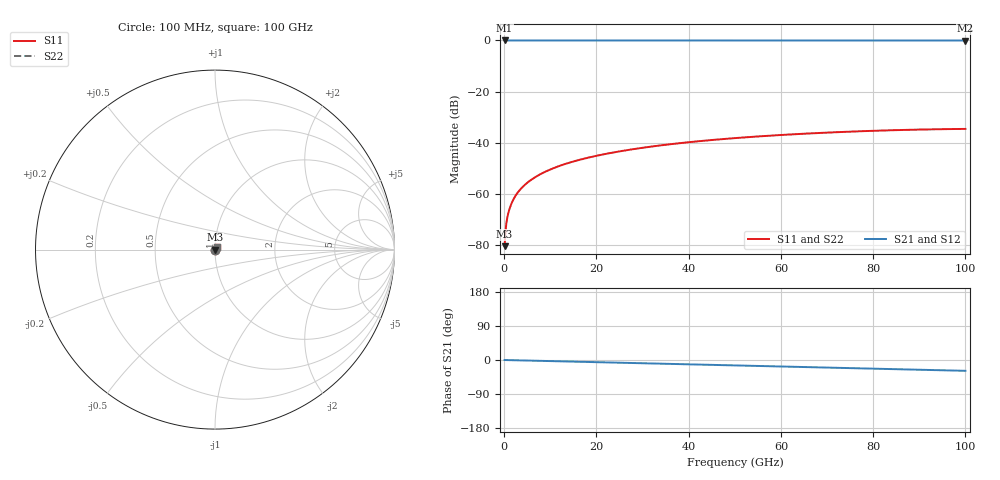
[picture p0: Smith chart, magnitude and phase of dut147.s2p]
! Touchstone file exported from HFSS 2026.1.0
!  File:  C:/ffzhzh/LocalFiles/Ansys_Project_Files/temp_train_TSV_147_1783506563_55944.aedt
!  Generated:  06:30:38 PM Jul  8, 2026
!  Design:  TSV
!  Project:  temp_train_TSV_147_1783506563_55944
! Variables:
!  h_bsmrdl = 2um
!  h_ox = 20um
!  h_rdl = 5um
!  h_sub = 52.38um
!  h_tmrdl = 5um
!  h_tsv = 52.38um
!  h_via = 3um
!  l_bsmrdl = 300um
!  l_sub = 423.08um
!  l_tmrdl = 200um
!  m_sub = 200um
!  pitch = 48.44um
!  r_tsv = 11.54um
!  s_tmrdl = 10um
!  w_bsmrdl = 18um
!  w_sub = 500um
!  w_tmrdl = 12um
!  x_tsv_center1 = 206um
!  x_tsv_center2 = 524um
!  x_tsv_center3 = 736um
!  x_tsv_center4 = 1054um
!  x_tsv_center5 = 1266um
!  x_tsv_center6 = 1584um
# GHz S MA R 50.000000
! Terminal data exported
! Port[1] = TSV1_1_T1
! Port[2] = TSV1_1_T2
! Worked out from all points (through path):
!   1000 points, 100 MHz to 100 GHz, reference 50 ohm
!   highest |S21| = 0.00 dB at 100 MHz (marker M1); lowest = 0.0 dB at 100 GHz (marker M2)
!   group delay of S21, straight-line fit = 792 fs
!   lowest |S11| = -80.4 dB at 100 MHz (marker M3), VSWR 1.00, Z = 50 + j0.00566 ohm
!   |S11| at or under -10 dB: start of sweep to end of sweep
!   |S22| runs from -80.4 to -34.6 dB; largest |S21 - S12| = 2.1e-15
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0.1  9.522e-05 36.5  0.9999 -0.0  0.9999 -0.0  9.522e-05 36.5
! Gamma 0 0 0 0
! Port Impedance 50 0 50 0
0.4  0.0002334 60.6  0.9999 -0.1  0.9999 -0.1  0.0002334 60.6
0.8  0.000388 64.6  0.9998 -0.2  0.9998 -0.2  0.000388 64.6
1.1  0.0004895 66.5  0.9998 -0.3  0.9998 -0.3  0.0004895 66.5
1.4  0.0005872 68.0  0.9998 -0.4  0.9998 -0.4  0.0005872 68.0
1.9  0.0007462 69.9  0.9997 -0.6  0.9997 -0.6  0.0007462 69.9
2.5  0.000931 71.3  0.9997 -0.7  0.9997 -0.7  0.000931 71.3
3.2  0.001139 72.4  0.9997 -0.9  0.9997 -0.9  0.001139 72.4
4  0.001369 73.3  0.9996 -1.2  0.9996 -1.2  0.001369 73.3
5  0.00165 74.2  0.9996 -1.4  0.9996 -1.4  0.00165 74.2
6.2  0.00198 74.9  0.9995 -1.8  0.9995 -1.8  0.00198 74.9
9  0.002737 75.8  0.9994 -2.6  0.9994 -2.6  0.002737 75.8
12.5  0.003659 76.0  0.9993 -3.6  0.9993 -3.6  0.003659 76.0
16.8  0.004758 75.9  0.9992 -4.8  0.9992 -4.8  0.004758 75.9
20.3  0.005633 75.6  0.9991 -5.8  0.9991 -5.8  0.005633 75.6
24.2  0.006591 75.1  0.9991 -6.9  0.9991 -6.9  0.006591 75.1
33.4  0.00877 73.5  0.9989 -9.5  0.9989 -9.5  0.00877 73.5
41.3  0.01053 71.8  0.9987 -11.8  0.9987 -11.8  0.01053 71.8
50.1  0.01235 69.7  0.9986 -14.3  0.9986 -14.3  0.01235 69.7
66.7  0.0153 65.5  0.9983 -19.0  0.9983 -19.0  0.0153 65.5
83.4  0.01751 61.0  0.9981 -23.8  0.9981 -23.8  0.01751 61.0
100  0.01865 56.5  0.9978 -28.5  0.9978 -28.5  0.01865 56.5
